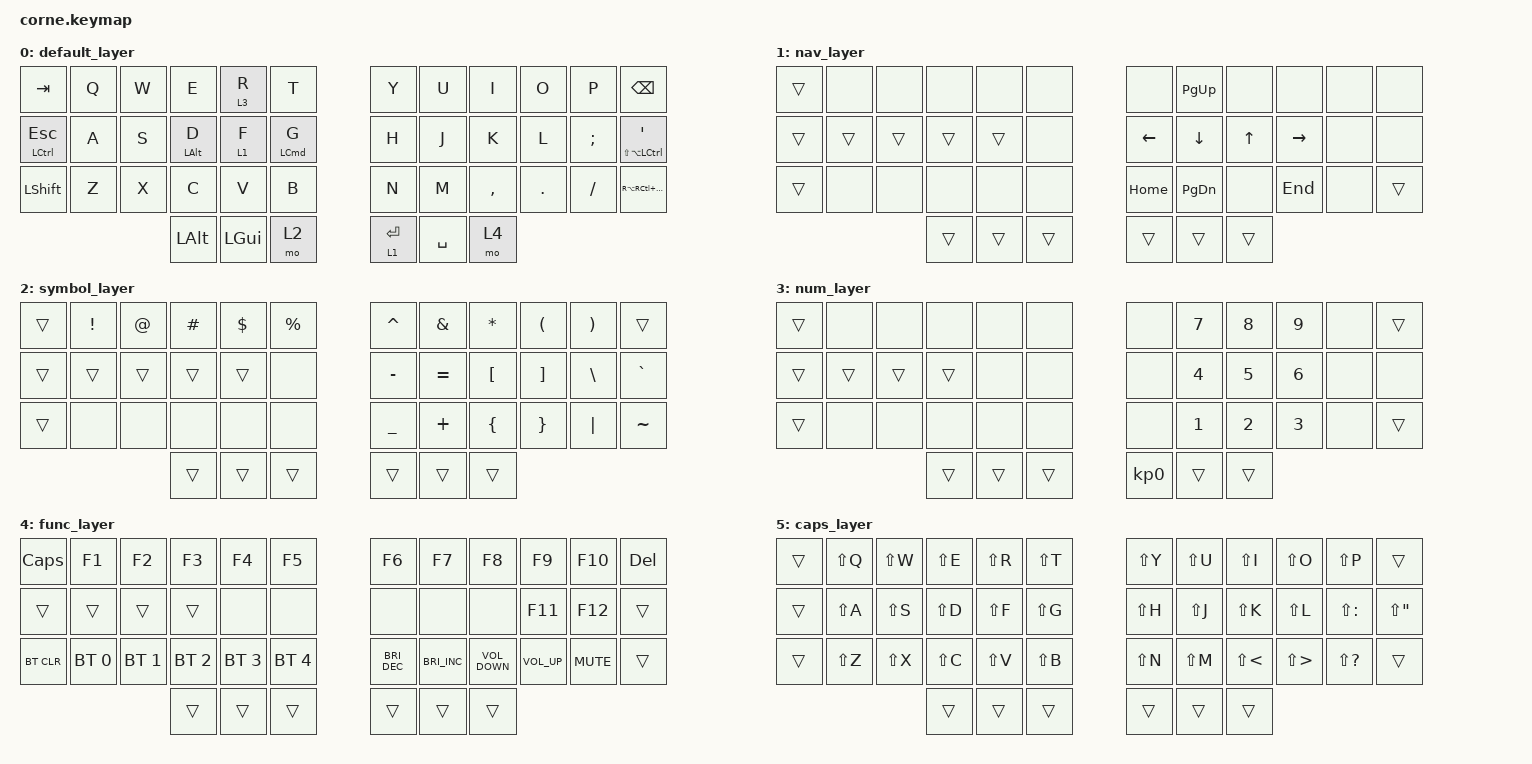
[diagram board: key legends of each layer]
/*
 * Copyright (c) 2020 The ZMK Contributors
 *
 * SPDX-License-Identifier: MIT
 */

#include <behaviors.dtsi>
#include <dt-bindings/zmk/bt.h>
#include <dt-bindings/zmk/keys.h>

/ {
    behaviors {
        hml: homerow_mods_left {
            compatible = "zmk,behavior-hold-tap";
            label = "HOMEROW_MODS_LEFT_HAND";
            bindings = <&kp>, <&kp>;

            #binding-cells = <2>;
            tapping-term-ms = <220>;
            flavor = "balanced";
            hold-trigger-key-positions = <6 7 8 9 10 11 18 19 20 21 22 23 30 31 32 33 34 35 39 40 41>;
            quick-tap-ms = <220>;
            require-prior-idle-ms = <220>;
            hold-trigger-on-release;
        };

        hmr: homerow_mods_right {
            compatible = "zmk,behavior-hold-tap";
            label = "HOMEROW_MODS_RIGHT_HAND";
            bindings = <&kp>, <&kp>;

            #binding-cells = <2>;
            tapping-term-ms = <220>;
            flavor = "balanced";
            hold-trigger-key-positions = <0 1 2 3 4 5 12 13 14 15 16 17 24 25 26 27 28 29 36 37 38>;
            require-prior-idle-ms = <220>;
            quick-tap-ms = <220>;
            hold-trigger-on-release;
        };

        ltm: layer_tap_mod {
            compatible = "zmk,behavior-hold-tap";
            label = "LAYER_TAP_MOD";
            #binding-cells = <2>;
            tapping-term-ms = <280>;
            flavor = "balanced";
            bindings = <&mo>, <&kp>;

            quick-tap-ms = <220>;
        };

        ht: hold_tap {
            compatible = "zmk,behavior-hold-tap";
            label = "HOLD_TAP";
            bindings = <&kp>, <&kp>;

            #binding-cells = <2>;
            tapping-term-ms = <160>;
            flavor = "hold-preferred";
            hold-trigger-on-release;
        };

        meh: meh {
            compatible = "zmk,behavior-hold-tap";
            label = "MEH";
            bindings = <&kp>, <&kp>;

            #binding-cells = <2>;
            tapping-term-ms = <280>;
            flavor = "balanced";
            quick-tap-ms = <220>;
            require-prior-idle-ms = <220>;
            hold-trigger-on-release;
        };
    };

    combos { compatible = "zmk,combos"; };

    keymap {
        compatible = "zmk,keymap";

        default_layer {
            // -----------------------------------------------------------------------------------------
            // |  TAB |  Q  |  W  |  E  |  R  |  T  |   |  Y  |  U   |  I  |  O  |  P  | BSPC |
            // | CTRL |  A  |  S  |  D  |  F  |  G  |   |  H  |  J   |  K  |  L  |  ;  |  '   |
            // | SHFT |  Z  |  X  |  C  |  V  |  B  |   |  N  |  M   |  ,  |  .  |  /  | ESC  |
            //                    | GUI | LWR | SPC |   | ENT | RSE  | ALT |

            bindings = <
&kp TAB         &kp Q  &kp W  &kp E            &ltm 3 R  &kp T          &kp Y         &kp U      &kp I      &kp O    &kp P          &kp BSPC
&ht LCTRL ESC   &kp A  &kp S  &hml LEFT_ALT D  &ltm 1 F  &hml LCMD G    &kp H         &kp J      &kp K      &kp L    &kp SEMICOLON  &meh LS(LA(LCTRL)) SQT
&kp LEFT_SHIFT  &kp Z  &kp X  &kp C            &kp V     &kp B          &kp N         &kp M      &kp COMMA  &kp DOT  &kp FSLH       &kp RA(RC(RG(RSHIFT)))
                              &kp LEFT_ALT     &kp LGUI  &mo 2          &ltm 1 ENTER  &kp SPACE  &mo 4
            >;
        };

        nav_layer {
            // -----------------------------------------------------------------------------------------
            // |  TAB |  1  |  2  |  3  |  4  |  5  |   |  6  |  7  |  8  |  9  |  0  | BSPC |
            // | BTCLR| BT1 | BT2 | BT3 | BT4 | BT5 |   | LFT | DWN |  UP | RGT |     |      |
            // | SHFT |     |     |     |     |     |   |     |     |     |     |     |      |
            //                    | GUI |     | SPC |   | ENT |     | ALT |

            bindings = <
&trans  &none   &none   &none   &none   &none     &none     &kp PAGE_UP    &none   &none      &none  &none
&trans  &trans  &trans  &trans  &trans  &none     &kp LEFT  &kp DOWN       &kp UP  &kp RIGHT  &none  &none
&trans  &none   &none   &none   &none   &none     &kp HOME  &kp PAGE_DOWN  &none   &kp END    &none  &trans
                        &trans  &trans  &trans    &trans    &trans         &trans
            >;
        };

        symbol_layer {
            // -----------------------------------------------------------------------------------------
            // |  TAB |  !  |  @  |  #  |  $  |  %  |   |  ^  |  &  |  *  |  (  |  )  | BSPC |
            // | CTRL |     |     |     |     |     |   |  -  |  =  |  [  |  ]  |  \  |  `   |
            // | SHFT |     |     |     |     |     |   |  _  |  +  |  {  |  }  | "|" |  ~   |
            //                    | GUI |     | SPC |   | ENT |     | ALT |

            bindings = <
&trans  &kp EXCL  &kp AT  &kp HASH  &kp DLLR  &kp PRCNT    &kp CARET  &kp AMPS   &kp ASTRK  &kp LPAR  &kp RPAR  &trans
&trans  &trans    &trans  &trans    &trans    &none        &kp MINUS  &kp EQUAL  &kp LBKT   &kp RBKT  &kp BSLH  &kp GRAVE
&trans  &none     &none   &none     &none     &none        &kp UNDER  &kp PLUS   &kp LBRC   &kp RBRC  &kp PIPE  &kp TILDE
                          &trans    &trans    &trans       &trans     &trans     &trans
            >;
        };

        num_layer {
            bindings = <
&trans  &none   &none   &none   &none   &none     &none            &kp N7        &kp N8        &kp N9        &none  &trans
&trans  &trans  &trans  &trans  &none   &none     &none            &kp NUMBER_4  &kp NUMBER_5  &kp NUMBER_6  &none  &none
&trans  &none   &none   &none   &none   &none     &none            &kp NUMBER_1  &kp NUMBER_2  &kp NUMBER_3  &none  &trans
                        &trans  &trans  &trans    &kp KP_NUMBER_0  &trans        &trans
            >;
        };

        func_layer {
            bindings = <
&kp CAPS    &kp F1        &kp F2        &kp F3        &kp F4        &kp F5          &kp F6                &kp F7                &kp F8             &kp F9           &kp F10     &kp DEL
&trans      &trans        &trans        &trans        &none         &none           &none                 &none                 &none              &kp F11          &kp F12     &trans
&bt BT_CLR  &bt BT_SEL 0  &bt BT_SEL 1  &bt BT_SEL 2  &bt BT_SEL 3  &bt BT_SEL 4    &kp C_BRIGHTNESS_DEC  &kp C_BRIGHTNESS_INC  &kp C_VOLUME_DOWN  &kp C_VOLUME_UP  &kp C_MUTE  &trans
                                        &trans        &trans        &trans          &trans                &trans                &trans
            >;
        };

        caps_layer {
            bindings = <
&trans  &kp LS(Q)  &kp LS(W)  &kp LS(E)  &kp LS(R)  &kp LS(T)    &kp LS(Y)  &kp LS(U)  &kp LS(I)   &kp LS(O)   &kp LS(P)      &trans
&trans  &kp LS(A)  &kp LS(S)  &kp LS(D)  &kp LS(F)  &kp LS(G)    &kp LS(H)  &kp LS(J)  &kp LS(K)   &kp LS(L)   &kp LS(COLON)  &kp LS(DQT)
&trans  &kp LS(Z)  &kp LS(X)  &kp LS(C)  &kp LS(V)  &kp LS(B)    &kp LS(N)  &kp LS(M)  &kp LS(LT)  &kp LS(GT)  &kp LS(QMARK)  &trans
                              &trans     &trans     &trans       &trans     &trans     &trans
            >;
        };
    };
};
